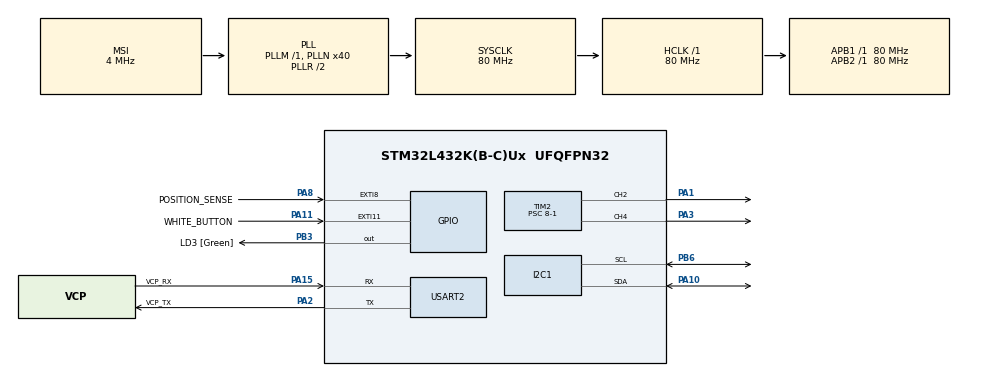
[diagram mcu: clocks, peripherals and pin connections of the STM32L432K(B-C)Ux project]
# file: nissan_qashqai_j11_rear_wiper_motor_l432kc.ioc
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I2C1.Timing=0x10D19CE4
Mcu.Family=STM32L4
Mcu.Name=STM32L432K(B-C)Ux
Mcu.Package=UFQFPN32
NVIC.EXTI15_10_IRQn=true\:0\:0\:false\:false\:true\:true\:true\:true
NVIC.EXTI9_5_IRQn=true\:0\:0\:false\:false\:true\:true\:true\:true
NVIC.PriorityGroup=NVIC_PRIORITYGROUP_4
PA0.GPIO_Label=MCO [High speed clock in]
PA0.Mode=HSE-External-Clock-Source-for-LittleOrca
PA0.Signal=RCC_CK_IN
PA1.Signal=S_TIM2_CH2
PA10.Mode=I2C
PA10.Signal=I2C1_SDA
PA11.GPIO_Label=WHITE_BUTTON
PA11.GPIO_ModeDefaultEXTI=GPIO_MODE_IT_FALLING
PA11.GPIO_PuPd=GPIO_PULLUP
PA11.Signal=GPXTI11
PA13\ (JTMS-SWDIO).GPIO_Label=SWDIO
PA13\ (JTMS-SWDIO).Mode=Serial_Wire
PA13\ (JTMS-SWDIO).Signal=SYS_JTMS-SWDIO
PA14\ (JTCK-SWCLK).GPIO_Label=SWCLK
PA14\ (JTCK-SWCLK).Mode=Serial_Wire
PA14\ (JTCK-SWCLK).Signal=SYS_JTCK-SWCLK
PA15\ (JTDI).GPIO_Label=VCP_RX
PA15\ (JTDI).Mode=Asynchronous
PA15\ (JTDI).Signal=USART2_RX
PA2.GPIO_Label=VCP_TX
PA2.Mode=Asynchronous
PA2.Signal=USART2_TX
PA3.Signal=S_TIM2_CH4
PA8.GPIO_Label=POSITION_SENSE
PA8.GPIO_ModeDefaultEXTI=GPIO_MODE_IT_RISING
PA8.GPIO_PuPd=GPIO_NOPULL
PA8.Signal=GPXTI8
PB3\ (JTDO-TRACESWO).GPIO_Label=LD3 [Green]
PB3\ (JTDO-TRACESWO).Signal=GPIO_Output
PB6.Mode=I2C
PB6.Signal=I2C1_SCL
PC14-OSC32_IN\ (PC14).Mode=LSE-External-Oscillator
PC14-OSC32_IN\ (PC14).Signal=RCC_OSC32_IN
PC15-OSC32_OUT\ (PC15).Mode=LSE-External-Oscillator
PC15-OSC32_OUT\ (PC15).Signal=RCC_OSC32_OUT
ProjectManager.HeapSize=0x200
ProjectManager.StackSize=0x400
ProjectManager.TargetToolchain=STM32CubeIDE
RCC.AHBFreq_Value=80000000
RCC.APB1Freq_Value=80000000
RCC.APB1TimFreq_Value=80000000
RCC.APB2Freq_Value=80000000
RCC.APB2TimFreq_Value=80000000
RCC.CortexFreq_Value=80000000
RCC.HCLKFreq_Value=80000000
RCC.HSE_VALUE=8000000
RCC.HSI16_VALUE=16000000
RCC.HSI48_VALUE=48000000
RCC.HSI_VALUE=16000000
RCC.MSI_VALUE=4000000
RCC.PLLMUL=RCC_PLLMUL_4
RCC.PLLN=40
RCC.SYSCLKFreq_VALUE=80000000
RCC.SYSCLKSource=RCC_SYSCLKSOURCE_PLLCLK
RCC.VCOOutputFreq_Value=160000000
SH.S_TIM2_CH2.0=TIM2_CH2,PWM Generation2 CH2
SH.S_TIM2_CH4.0=TIM2_CH4,PWM Generation4 CH4
TIM2.Channel-PWM\ Generation2\ CH2=TIM_CHANNEL_2
TIM2.Channel-PWM\ Generation4\ CH4=TIM_CHANNEL_4
TIM2.CounterMode=TIM_COUNTERMODE_CENTERALIGNED1
TIM2.OCMode_PWM-PWM\ Generation2\ CH2=TIM_OCMODE_PWM1
TIM2.OCMode_PWM-PWM\ Generation4\ CH4=TIM_OCMODE_PWM1
TIM2.Period=1000
TIM2.Prescaler=8-1
TIM2.Pulse-PWM\ Generation2\ CH2=500
TIM2.Pulse-PWM\ Generation4\ CH4=500
USART2.VirtualMode-Asynchronous=VM_ASYNC
VP_TIM2_VS_ClockSourceINT.Mode=Internal
board=NUCLEO-L432KC

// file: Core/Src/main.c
/* USER CODE BEGIN Header */
/**
 ******************************************************************************
 * @file           : main.c
 * @brief          : Main program body
 ******************************************************************************
 * @attention
 *
 * Copyright (c) 2025 STMicroelectronics.
 * All rights reserved.
 *
 * This software is licensed under terms that can be found in the LICENSE file
 * in the root directory of this software component.
 * If no LICENSE file comes with this software, it is provided AS-IS.
 *
 ******************************************************************************
 */
/* USER CODE END Header */
#include "main.h"
#include "i2c.h"
#include "tim.h"
#include "usart.h"
#include "gpio.h"

/* USER CODE BEGIN Includes */
#include <stdio.h>
#include "ssd1306.h"
/* USER CODE END Includes */

/* USER CODE BEGIN PD */
#define PWM_ARR 1000
#define PWM_MID_CCR 500
#define PWM_INCRENEMT 100
#define V_DC 11.3f // V

#define MAX_NUMBER_OF_SWIPES 32

#define OLED_REFRESH_RATE 200 // ms
/* USER CODE END PD */

/* USER CODE BEGIN PV */
volatile uint16_t pwm_ccr = PWM_MID_CCR;
volatile uint8_t up_down_dir = 0;

volatile uint16_t number_of_swipes = 0;

uint32_t softTimerOLED;
char lcd_line[32];
/* USER CODE END PV */

void SystemClock_Config(void);

int main(void)
{

	/* MCU Configuration--------------------------------------------------------*/

	/* Reset of all peripherals, Initializes the Flash interface and the Systick. */
	HAL_Init();

	/* Configure the system clock */
	SystemClock_Config();

	/* Initialize all configured peripherals */
	MX_GPIO_Init();
	MX_USART2_UART_Init();
	MX_I2C1_Init();
	MX_TIM2_Init();
	/* USER CODE BEGIN 2 */
	ssd1306_Init();
	ssd1306_Fill(Black);
	ssd1306_SetCursor(21, 2);
	ssd1306_WriteString("ufnalski.edu.pl", Font_6x8, White);
	ssd1306_SetCursor(6, 14);
	ssd1306_WriteString("Nissan Qashqai (J11)", Font_6x8, White);
	ssd1306_SetCursor(16, 26);
	ssd1306_WriteString("rear wiper motor", Font_6x8, White);
	ssd1306_UpdateScreen();

	softTimerOLED = HAL_GetTick();

	__HAL_TIM_SET_COMPARE(&htim2, TIM_CHANNEL_2, PWM_MID_CCR);
	HAL_TIM_PWM_Start(&htim2, TIM_CHANNEL_2); // PWM_L
	__HAL_TIM_SET_COMPARE(&htim2, TIM_CHANNEL_4, PWM_ARR - PWM_MID_CCR);
	HAL_TIM_PWM_Start(&htim2, TIM_CHANNEL_4); // PWM_R
	/* USER CODE END 2 */

	/* Infinite loop */
	/* USER CODE BEGIN WHILE */
	while (1)
	{
		if ((HAL_GetTick() - softTimerOLED) > OLED_REFRESH_RATE)
		{
			softTimerOLED = HAL_GetTick();
			HAL_GPIO_TogglePin(LD3_GPIO_Port, LD3_Pin);

			ssd1306_SetCursor(15, 42);
			sprintf(lcd_line, "v_out = %.1f V  ",
					((float) PWM_MID_CCR - (float) pwm_ccr) / PWM_MID_CCR * V_DC);
			ssd1306_WriteString(lcd_line, Font_6x8, White);
			ssd1306_SetCursor(15, 54);
			sprintf(lcd_line, "n_of_swipes = %d  ", number_of_swipes);
			ssd1306_WriteString(lcd_line, Font_6x8, White);
			ssd1306_UpdateScreen();
		}

		if (number_of_swipes >= MAX_NUMBER_OF_SWIPES)  // stop the wiper
		{
			pwm_ccr = PWM_MID_CCR;
			__HAL_TIM_SET_COMPARE(&htim2, TIM_CHANNEL_2, pwm_ccr);
			__HAL_TIM_SET_COMPARE(&htim2, TIM_CHANNEL_4, PWM_ARR - pwm_ccr);
		}
		/* USER CODE END WHILE */

	}
}

void SystemClock_Config(void)
{
	RCC_OscInitTypeDef RCC_OscInitStruct =
	{ 0 };
	RCC_ClkInitTypeDef RCC_ClkInitStruct =
	{ 0 };

	/** Configure the main internal regulator output voltage
	 */
	if (HAL_PWREx_ControlVoltageScaling(PWR_REGULATOR_VOLTAGE_SCALE1) != HAL_OK)
	{
		Error_Handler();
	}

	/** Configure LSE Drive Capability
	 */
	HAL_PWR_EnableBkUpAccess();
	__HAL_RCC_LSEDRIVE_CONFIG(RCC_LSEDRIVE_LOW);

	/** Initializes the RCC Oscillators according to the specified parameters
	 * in the RCC_OscInitTypeDef structure.
	 */
	RCC_OscInitStruct.OscillatorType = RCC_OSCILLATORTYPE_LSE
			| RCC_OSCILLATORTYPE_MSI;
	RCC_OscInitStruct.LSEState = RCC_LSE_ON;
	RCC_OscInitStruct.MSIState = RCC_MSI_ON;
	RCC_OscInitStruct.MSICalibrationValue = 0;
	RCC_OscInitStruct.MSIClockRange = RCC_MSIRANGE_6;
	RCC_OscInitStruct.PLL.PLLState = RCC_PLL_ON;
	RCC_OscInitStruct.PLL.PLLSource = RCC_PLLSOURCE_MSI;
	RCC_OscInitStruct.PLL.PLLM = 1;
	RCC_OscInitStruct.PLL.PLLN = 40;
	RCC_OscInitStruct.PLL.PLLP = RCC_PLLP_DIV7;
	RCC_OscInitStruct.PLL.PLLQ = RCC_PLLQ_DIV2;
	RCC_OscInitStruct.PLL.PLLR = RCC_PLLR_DIV2;
	if (HAL_RCC_OscConfig(&RCC_OscInitStruct) != HAL_OK)
	{
		Error_Handler();
	}

	/** Initializes the CPU, AHB and APB buses clocks
	 */
	RCC_ClkInitStruct.ClockType = RCC_CLOCKTYPE_HCLK | RCC_CLOCKTYPE_SYSCLK
			| RCC_CLOCKTYPE_PCLK1 | RCC_CLOCKTYPE_PCLK2;
	RCC_ClkInitStruct.SYSCLKSource = RCC_SYSCLKSOURCE_PLLCLK;
	RCC_ClkInitStruct.AHBCLKDivider = RCC_SYSCLK_DIV1;
	RCC_ClkInitStruct.APB1CLKDivider = RCC_HCLK_DIV1;
	RCC_ClkInitStruct.APB2CLKDivider = RCC_HCLK_DIV1;

	if (HAL_RCC_ClockConfig(&RCC_ClkInitStruct, FLASH_LATENCY_4) != HAL_OK)
	{
		Error_Handler();
	}

	/** Enable MSI Auto calibration
	 */
	HAL_RCCEx_EnableMSIPLLMode();
}

/* USER CODE BEGIN 4 */
void HAL_GPIO_EXTI_Callback(uint16_t GPIO_Pin)
{
	if (GPIO_Pin == WHITE_BUTTON_Pin)
	{
		number_of_swipes = 0;

		if (up_down_dir == 0)
		{
			if (pwm_ccr >= PWM_INCRENEMT)
			{
				pwm_ccr -= PWM_INCRENEMT;
			}
			else
			{
				up_down_dir = 1;
			}
		}
		else
		{
			if (PWM_ARR - pwm_ccr >= PWM_INCRENEMT)
			{
				pwm_ccr += PWM_INCRENEMT;
			}
			else
			{
				up_down_dir = 0;
			}
		}
		__HAL_TIM_SET_COMPARE(&htim2, TIM_CHANNEL_2, pwm_ccr);
		__HAL_TIM_SET_COMPARE(&htim2, TIM_CHANNEL_4, PWM_ARR - pwm_ccr);
	}

	if (GPIO_Pin == POSITION_SENSE_Pin)
	{
		number_of_swipes++;
	}
}
/* USER CODE END 4 */

void Error_Handler(void)
{
	__disable_irq();
	while (1)
	{
	}
}
